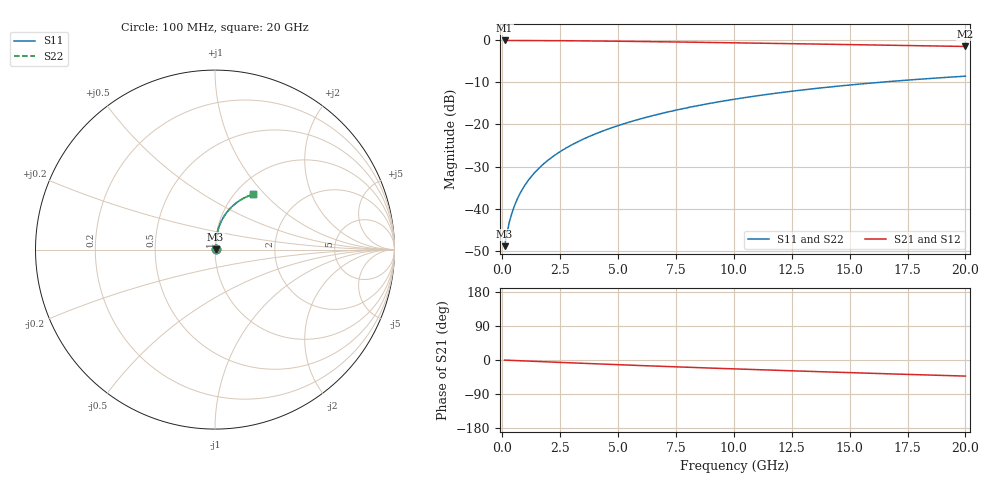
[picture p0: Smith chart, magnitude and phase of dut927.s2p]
! Touchstone file exported from HFSS 2024.1.0
!  File:  C:/UserFiles/LocalFiles/RDL_TSV_Batchsim/temp_RDL_top_927_1779936834.aedt
!  Generated:  10:56:39 AM May 28, 2026
!  Design:  RDL_top
!  Project:  temp_RDL_top_927_1779936834
!  Setup:  Setup1
!  Solution:  Sweep
! Variables:
!  dtsv = 10.80580581um
!  hbump = 3um
!  htsv = 98.39um
!  ldown = 100um
!  lrdl = 603.16um
!  p = 40
!  p1 = 49.07um
!  rhole = 1um
!  t = 450um
!  tdown = 3.915915916um
!  trdl = 3.73um
!  wdown = 15.38538539um
!  wrdl = 21.05um
# GHz S MA R 50.000000
! Terminal data exported
! Port[1] = Box2_T1
! Port[2] = Box2_T2
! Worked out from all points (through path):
!   200 points, 100 MHz to 20 GHz, reference 50 ohm
!   highest |S21| = -0.03 dB at 100 MHz (marker M1); lowest = -1.5 dB at 20 GHz (marker M2)
!   group delay of S21, straight-line fit = 5.86 ps
!   lowest |S11| = -48.9 dB at 100 MHz (marker M3), VSWR 1.01, Z = 50.3 + j0.21 ohm
!   |S11| at or under -10 dB: start of sweep to 16.26 GHz
!   |S22| runs from -48.9 to -8.5 dB; largest |S21 - S12| = 2.7e-15
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0.1  0.003572 35.7  0.9971 -0.3  0.9971 -0.3  0.003572 35.7
! Gamma 0 0 0 0
! Port Impedance 50 0 50 0
0.2  0.005101 53.3  0.9969 -0.5  0.9969 -0.5  0.005101 53.3
0.3  0.006816 61.9  0.9967 -0.8  0.9967 -0.8  0.006816 61.9
0.4  0.008567 67.0  0.9965 -1.0  0.9965 -1.0  0.008566 67.0
0.5  0.01033 70.4  0.9964 -1.3  0.9964 -1.3  0.01033 70.4
0.6  0.01211 72.9  0.9962 -1.6  0.9962 -1.6  0.01211 72.9
0.8  0.01572 76.3  0.9959 -2.1  0.9959 -2.1  0.01572 76.3
1.1  0.02121 79.3  0.9953 -2.8  0.9953 -2.8  0.02121 79.3
1.3  0.02491 80.5  0.9948 -3.3  0.9948 -3.3  0.02491 80.5
1.6  0.03051 81.7  0.994 -4.1  0.994 -4.1  0.03051 81.7
2.1  0.03995 82.8  0.9923 -5.3  0.9923 -5.3  0.03995 82.8
2.7  0.05144 83.3  0.9899 -6.8  0.9899 -6.8  0.05143 83.3
3.5  0.06699 83.2  0.9858 -8.8  0.9858 -8.8  0.06699 83.2
4.2  0.08082 82.8  0.9816 -10.5  0.9816 -10.5  0.08082 82.8
5  0.09686 82.1  0.9762 -12.4  0.9762 -12.4  0.09685 82.1
6.8  0.1336 79.7  0.9625 -16.5  0.9625 -16.5  0.1336 79.7
8.4  0.1665 77.1  0.9492 -20.0  0.9492 -20.0  0.1665 77.1
10.1  0.2011 74.0  0.9345 -23.6  0.9345 -23.6  0.2011 74.0
11.7  0.2329 71.0  0.9203 -26.9  0.9203 -26.9  0.2328 70.9
13.4  0.2654 67.7  0.905 -30.3  0.905 -30.3  0.2653 67.6
16.7  0.3237 61.3  0.8753 -36.5  0.8753 -36.5  0.3236 61.3
20  0.3751 55.3  0.846 -42.4  0.846 -42.4  0.3749 55.3
